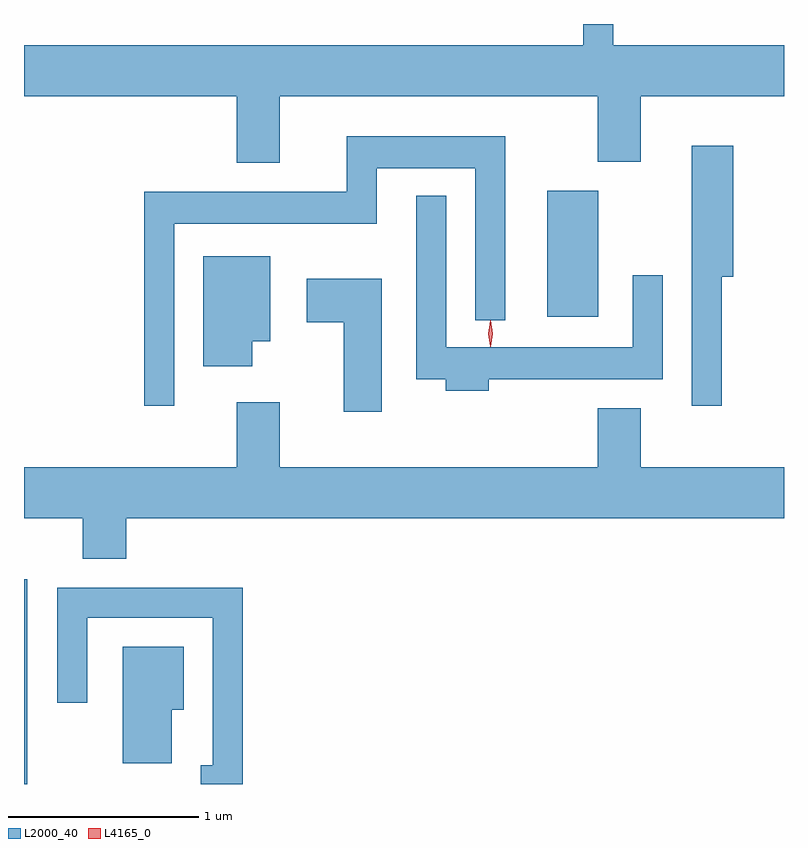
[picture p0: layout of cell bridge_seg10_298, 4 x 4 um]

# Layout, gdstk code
import gdstk
lib = gdstk.Library(unit=1e-6, precision=1e-09)
def R(c, l, rs):  # rectangles x0, y0, x1, y1
    for r in rs: c.add(gdstk.rectangle(r[:2], r[2:], *l))
def P(c, l, *ps):  # polygons
    for p in ps: c.add(gdstk.Polygon(p, *l))
L2000_40 = (2000, 40)
L4165_0 = (4165, 0)

bridge_seg10_298 = lib.new_cell('bridge_seg10_298')
R(bridge_seg10_298, L2000_40, [(1417.962,2168.016,1417.979,2169.094), (1420.716,2170.476,1420.984,2171.139)])
P(bridge_seg10_298, L2000_40, [(1419.309,2171.636),(1420.981,2171.636),(1420.981,2171.291),(1421.209,2171.291),(1421.209,2171.636),(1421.962,2171.636),(1421.962,2171.904),(1421.064,2171.904),(1421.064,2172.016),(1420.906,2172.016),(1420.906,2171.904),(1417.962,2171.904),(1417.962,2171.636),(1419.081,2171.636),(1419.081,2171.286),(1419.309,2171.286)],
  [(1418.754,2170.966),(1419.819,2170.966),(1419.819,2171.256),(1420.336,2171.256),(1420.336,2170.458),(1420.494,2170.458),(1420.494,2171.424),(1419.661,2171.424),(1419.661,2171.134),(1418.596,2171.134),(1418.596,2170.008),(1418.754,2170.008)],
  [(1421.634,2170.686),(1421.694,2170.686),(1421.694,2171.374),(1421.476,2171.374),(1421.476,2170.008),(1421.634,2170.008)],
  [(1420.409,2170.146),(1421.324,2170.146),(1421.324,2170.693),(1421.166,2170.693),(1421.166,2170.314),(1420.184,2170.314),(1420.184,2171.113),(1420.026,2171.113),(1420.026,2170.146),(1420.181,2170.146),(1420.181,2170.086),(1420.409,2170.086)],
  [(1419.164,2170.346),(1419.259,2170.346),(1419.259,2170.794),(1418.906,2170.794),(1418.906,2170.216),(1419.164,2170.216)],
  [(1419.844,2170.674),(1419.451,2170.674),(1419.451,2170.446),(1419.646,2170.446),(1419.646,2169.976),(1419.844,2169.976)],
  [(1418.499,2169.416),(1421.962,2169.416),(1421.962,2169.684),(1421.209,2169.684),(1421.209,2169.994),(1420.981,2169.994),(1420.981,2169.684),(1419.309,2169.684),(1419.309,2170.024),(1419.081,2170.024),(1419.081,2169.684),(1417.962,2169.684),(1417.962,2169.416),(1418.271,2169.416),(1418.271,2169.201),(1418.499,2169.201)],
  [(1419.114,2169.049),(1418.136,2169.049),(1418.136,2168.443),(1418.294,2168.443),(1418.294,2168.891),(1418.956,2168.891),(1418.956,2168.114),(1418.891,2168.114),(1418.891,2168.016),(1419.114,2168.016)],
  [(1418.739,2168.406),(1418.804,2168.406),(1418.804,2168.739),(1418.481,2168.739),(1418.481,2168.126),(1418.739,2168.126)])
P(bridge_seg10_298, L4165_0, [(1420.418,2170.317),(1420.417,2170.318),(1420.408,2170.387),(1420.417,2170.456),(1420.418,2170.456),(1420.418,2170.456),(1420.428,2170.387),(1420.418,2170.318)],
  [(1420.416,2170.32),(1420.416,2170.32),(1420.406,2170.386),(1420.416,2170.452),(1420.416,2170.453),(1420.417,2170.452),(1420.426,2170.386),(1420.417,2170.32)])

lib.write_gds('bridge_seg10_298.gds')
